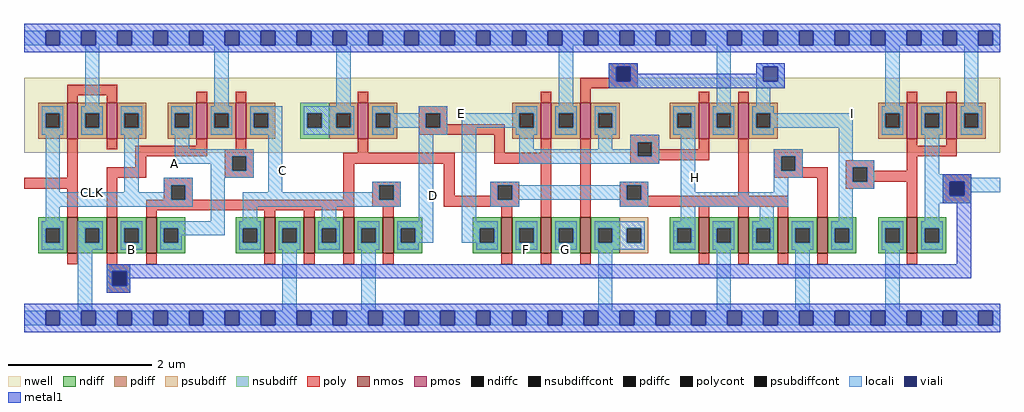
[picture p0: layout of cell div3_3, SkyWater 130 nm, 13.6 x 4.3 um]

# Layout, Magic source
magic
tech sky130A
<< nwell >>
rect 585 105 1945 210
<< nmos >>
rect 645 -35 660 15
rect 700 -35 715 15
rect 755 -35 770 15
rect 920 -35 935 15
rect 975 -35 990 15
rect 1030 -35 1045 15
rect 1085 -35 1100 15
rect 1250 -35 1265 15
rect 1305 -35 1320 15
rect 1360 -35 1375 15
rect 1525 -35 1540 15
rect 1580 -35 1595 15
rect 1635 -35 1650 15
rect 1690 -35 1705 15
rect 1815 -35 1830 15
<< pmos >>
rect 645 125 660 175
rect 700 125 715 175
rect 825 125 840 175
rect 880 125 895 175
rect 1050 125 1065 175
rect 1305 125 1320 175
rect 1360 125 1375 175
rect 1525 125 1540 175
rect 1580 125 1595 175
rect 1815 125 1830 175
rect 1870 125 1885 175
<< ndiff >>
rect 605 0 645 15
rect 605 -20 615 0
rect 635 -20 645 0
rect 605 -35 645 -20
rect 660 0 700 15
rect 660 -20 670 0
rect 690 -20 700 0
rect 660 -35 700 -20
rect 715 0 755 15
rect 715 -20 725 0
rect 745 -20 755 0
rect 715 -35 755 -20
rect 770 0 810 15
rect 770 -20 780 0
rect 800 -20 810 0
rect 770 -35 810 -20
rect 880 0 920 15
rect 880 -20 890 0
rect 910 -20 920 0
rect 880 -35 920 -20
rect 935 0 975 15
rect 935 -20 945 0
rect 965 -20 975 0
rect 935 -35 975 -20
rect 990 0 1030 15
rect 990 -20 1000 0
rect 1020 -20 1030 0
rect 990 -35 1030 -20
rect 1045 0 1085 15
rect 1045 -20 1055 0
rect 1075 -20 1085 0
rect 1045 -35 1085 -20
rect 1100 0 1140 15
rect 1100 -20 1110 0
rect 1130 -20 1140 0
rect 1100 -35 1140 -20
rect 1210 0 1250 15
rect 1210 -20 1220 0
rect 1240 -20 1250 0
rect 1210 -35 1250 -20
rect 1265 0 1305 15
rect 1265 -20 1275 0
rect 1295 -20 1305 0
rect 1265 -35 1305 -20
rect 1320 0 1360 15
rect 1320 -20 1330 0
rect 1350 -20 1360 0
rect 1320 -35 1360 -20
rect 1375 0 1415 15
rect 1375 -20 1385 0
rect 1405 -20 1415 0
rect 1375 -35 1415 -20
rect 1485 0 1525 15
rect 1485 -20 1495 0
rect 1515 -20 1525 0
rect 1485 -35 1525 -20
rect 1540 0 1580 15
rect 1540 -20 1550 0
rect 1570 -20 1580 0
rect 1540 -35 1580 -20
rect 1595 0 1635 15
rect 1595 -20 1605 0
rect 1625 -20 1635 0
rect 1595 -35 1635 -20
rect 1650 0 1690 15
rect 1650 -20 1660 0
rect 1680 -20 1690 0
rect 1650 -35 1690 -20
rect 1705 0 1745 15
rect 1705 -20 1715 0
rect 1735 -20 1745 0
rect 1705 -35 1745 -20
rect 1775 0 1815 15
rect 1775 -20 1785 0
rect 1805 -20 1815 0
rect 1775 -35 1815 -20
rect 1830 0 1870 15
rect 1830 -20 1840 0
rect 1860 -20 1870 0
rect 1830 -35 1870 -20
<< pdiff >>
rect 605 160 645 175
rect 605 140 615 160
rect 635 140 645 160
rect 605 125 645 140
rect 660 160 700 175
rect 660 140 670 160
rect 690 140 700 160
rect 660 125 700 140
rect 715 160 755 175
rect 715 140 725 160
rect 745 140 755 160
rect 715 125 755 140
rect 785 160 825 175
rect 785 140 795 160
rect 815 140 825 160
rect 785 125 825 140
rect 840 160 880 175
rect 840 140 850 160
rect 870 140 880 160
rect 840 125 880 140
rect 895 160 935 175
rect 895 140 905 160
rect 925 140 935 160
rect 895 125 935 140
rect 1010 160 1050 175
rect 1010 140 1020 160
rect 1040 140 1050 160
rect 1010 125 1050 140
rect 1065 160 1105 175
rect 1065 140 1075 160
rect 1095 140 1105 160
rect 1065 125 1105 140
rect 1265 160 1305 175
rect 1265 140 1275 160
rect 1295 140 1305 160
rect 1265 125 1305 140
rect 1320 160 1360 175
rect 1320 140 1330 160
rect 1350 140 1360 160
rect 1320 125 1360 140
rect 1375 160 1415 175
rect 1375 140 1385 160
rect 1405 140 1415 160
rect 1375 125 1415 140
rect 1485 160 1525 175
rect 1485 140 1495 160
rect 1515 140 1525 160
rect 1485 125 1525 140
rect 1540 160 1580 175
rect 1540 140 1550 160
rect 1570 140 1580 160
rect 1540 125 1580 140
rect 1595 160 1635 175
rect 1595 140 1605 160
rect 1625 140 1635 160
rect 1595 125 1635 140
rect 1775 160 1815 175
rect 1775 140 1785 160
rect 1805 140 1815 160
rect 1775 125 1815 140
rect 1830 160 1870 175
rect 1830 140 1840 160
rect 1860 140 1870 160
rect 1830 125 1870 140
rect 1885 160 1925 175
rect 1885 140 1895 160
rect 1915 140 1925 160
rect 1885 125 1925 140
<< ndiffc >>
rect 615 -20 635 0
rect 670 -20 690 0
rect 725 -20 745 0
rect 780 -20 800 0
rect 890 -20 910 0
rect 945 -20 965 0
rect 1000 -20 1020 0
rect 1055 -20 1075 0
rect 1110 -20 1130 0
rect 1220 -20 1240 0
rect 1275 -20 1295 0
rect 1330 -20 1350 0
rect 1385 -20 1405 0
rect 1495 -20 1515 0
rect 1550 -20 1570 0
rect 1605 -20 1625 0
rect 1660 -20 1680 0
rect 1715 -20 1735 0
rect 1785 -20 1805 0
rect 1840 -20 1860 0
<< pdiffc >>
rect 615 140 635 160
rect 670 140 690 160
rect 725 140 745 160
rect 795 140 815 160
rect 850 140 870 160
rect 905 140 925 160
rect 1020 140 1040 160
rect 1075 140 1095 160
rect 1275 140 1295 160
rect 1330 140 1350 160
rect 1385 140 1405 160
rect 1495 140 1515 160
rect 1550 140 1570 160
rect 1605 140 1625 160
rect 1785 140 1805 160
rect 1840 140 1860 160
rect 1895 140 1915 160
<< psubdiff >>
rect 1415 0 1455 15
rect 1415 -20 1425 0
rect 1445 -20 1455 0
rect 1415 -35 1455 -20
<< nsubdiff >>
rect 970 160 1010 175
rect 970 140 980 160
rect 1000 140 1010 160
rect 970 125 1010 140
<< psubdiffcont >>
rect 1425 -20 1445 0
<< nsubdiffcont >>
rect 980 140 1000 160
<< poly >>
rect 1400 225 1440 230
rect 1400 210 1410 225
rect 1360 205 1410 210
rect 1430 205 1440 225
rect 645 185 715 200
rect 1360 195 1440 205
rect 645 175 660 185
rect 700 175 715 185
rect 825 175 840 190
rect 880 175 895 190
rect 1050 175 1065 190
rect 1305 175 1320 190
rect 1360 175 1375 195
rect 1525 175 1540 190
rect 1580 175 1595 190
rect 1815 175 1830 190
rect 1870 175 1885 190
rect 1135 160 1175 170
rect 1135 140 1145 160
rect 1165 145 1175 160
rect 1165 140 1255 145
rect 1135 130 1255 140
rect 645 70 660 125
rect 700 110 715 125
rect 825 115 840 125
rect 740 100 840 115
rect 880 110 895 125
rect 865 100 905 110
rect 1050 105 1065 125
rect 1240 105 1255 130
rect 1305 105 1320 125
rect 740 85 755 100
rect 585 55 660 70
rect 645 15 660 55
rect 700 70 755 85
rect 865 80 875 100
rect 895 80 905 100
rect 865 70 905 80
rect 1030 90 1185 105
rect 1240 90 1320 105
rect 700 15 715 70
rect 780 60 820 70
rect 780 40 790 60
rect 810 40 820 60
rect 1030 40 1045 90
rect 755 25 1045 40
rect 1070 60 1110 65
rect 1070 40 1080 60
rect 1100 40 1110 60
rect 1070 30 1110 40
rect 1170 45 1185 90
rect 1235 60 1275 65
rect 1235 45 1245 60
rect 1170 40 1245 45
rect 1265 40 1275 60
rect 1170 30 1275 40
rect 755 15 770 25
rect 920 15 935 25
rect 975 15 990 25
rect 1030 15 1045 25
rect 1085 15 1100 30
rect 1250 15 1265 30
rect 1305 15 1320 90
rect 1360 15 1375 125
rect 1430 120 1470 130
rect 1430 100 1440 120
rect 1460 110 1470 120
rect 1525 110 1540 125
rect 1460 100 1540 110
rect 1430 95 1540 100
rect 1430 90 1470 95
rect 1415 60 1455 65
rect 1415 40 1425 60
rect 1445 45 1455 60
rect 1580 45 1595 125
rect 1815 115 1830 125
rect 1870 115 1885 125
rect 1630 100 1670 110
rect 1630 80 1640 100
rect 1660 85 1670 100
rect 1815 100 1885 115
rect 1730 85 1770 95
rect 1660 80 1705 85
rect 1630 70 1705 80
rect 1445 40 1650 45
rect 1415 30 1650 40
rect 1525 15 1540 30
rect 1580 15 1595 30
rect 1635 15 1650 30
rect 1690 15 1705 70
rect 1730 65 1740 85
rect 1760 80 1770 85
rect 1815 80 1830 100
rect 1760 65 1830 80
rect 1730 55 1770 65
rect 1815 15 1830 65
rect 1865 65 1905 75
rect 1865 45 1875 65
rect 1895 45 1905 65
rect 1865 35 1905 45
rect 645 -50 660 -35
rect 700 -50 715 -35
rect 755 -50 770 -35
rect 920 -50 935 -35
rect 975 -50 990 -35
rect 1030 -50 1045 -35
rect 1085 -50 1100 -35
rect 1250 -50 1265 -35
rect 1305 -50 1320 -35
rect 1360 -50 1375 -35
rect 1525 -50 1540 -35
rect 1580 -50 1595 -35
rect 1635 -50 1650 -35
rect 1690 -50 1705 -35
rect 1815 -50 1830 -35
rect 700 -60 733 -50
rect 700 -80 708 -60
rect 728 -80 733 -60
rect 700 -90 733 -80
<< polycont >>
rect 1410 205 1430 225
rect 1145 140 1165 160
rect 875 80 895 100
rect 790 40 810 60
rect 1080 40 1100 60
rect 1245 40 1265 60
rect 1440 100 1460 120
rect 1425 40 1445 60
rect 1640 80 1660 100
rect 1740 65 1760 85
rect 1875 45 1895 65
rect 708 -80 728 -60
<< locali >>
rect 585 255 615 275
rect 635 255 665 275
rect 685 255 715 275
rect 735 255 765 275
rect 785 255 815 275
rect 835 255 865 275
rect 885 255 915 275
rect 935 255 965 275
rect 985 255 1015 275
rect 1035 255 1065 275
rect 1085 255 1115 275
rect 1135 255 1165 275
rect 1185 255 1215 275
rect 1235 255 1265 275
rect 1285 255 1315 275
rect 1335 255 1365 275
rect 1385 255 1415 275
rect 1435 255 1465 275
rect 1485 255 1515 275
rect 1535 255 1565 275
rect 1585 255 1615 275
rect 1635 255 1665 275
rect 1685 255 1715 275
rect 1735 255 1765 275
rect 1785 255 1815 275
rect 1835 255 1865 275
rect 1885 255 1915 275
rect 1935 255 1945 275
rect 670 170 690 255
rect 850 170 870 255
rect 1020 170 1040 255
rect 1330 170 1350 255
rect 1400 225 1440 230
rect 1400 205 1410 225
rect 1430 205 1440 225
rect 1400 195 1440 205
rect 1550 170 1570 255
rect 1605 225 1645 230
rect 1605 205 1615 225
rect 1635 205 1645 225
rect 1605 195 1645 205
rect 1605 170 1625 195
rect 1785 170 1805 255
rect 1895 170 1915 255
rect 610 160 640 170
rect 610 140 615 160
rect 635 140 640 160
rect 610 130 640 140
rect 665 160 695 170
rect 665 140 670 160
rect 690 140 695 160
rect 665 130 695 140
rect 720 160 750 170
rect 720 140 725 160
rect 745 140 750 160
rect 720 130 750 140
rect 790 160 820 170
rect 790 140 795 160
rect 815 140 820 160
rect 790 130 820 140
rect 845 160 875 170
rect 845 140 850 160
rect 870 140 875 160
rect 845 130 875 140
rect 900 160 945 170
rect 900 140 905 160
rect 925 140 945 160
rect 900 130 945 140
rect 975 160 1045 170
rect 975 140 980 160
rect 1000 140 1020 160
rect 1040 140 1045 160
rect 975 130 1045 140
rect 1070 160 1100 170
rect 1135 160 1175 170
rect 1270 160 1300 170
rect 1070 140 1075 160
rect 1095 140 1145 160
rect 1165 140 1175 160
rect 1070 130 1100 140
rect 1135 130 1175 140
rect 1195 140 1275 160
rect 1295 140 1300 160
rect 615 50 635 130
rect 725 50 745 130
rect 795 110 815 130
rect 795 100 905 110
rect 795 90 875 100
rect 845 80 875 90
rect 895 80 905 100
rect 845 70 905 80
rect 780 60 820 70
rect 780 50 790 60
rect 615 40 790 50
rect 810 40 820 60
rect 615 30 820 40
rect 615 10 635 30
rect 845 10 865 70
rect 925 50 945 130
rect 1070 60 1110 65
rect 1070 50 1080 60
rect 890 40 1080 50
rect 1100 40 1110 60
rect 890 30 1110 40
rect 890 10 910 30
rect 1000 10 1020 30
rect 1135 10 1155 130
rect 610 0 640 10
rect 610 -20 615 0
rect 635 -20 640 0
rect 610 -30 640 -20
rect 660 0 695 10
rect 660 -20 670 0
rect 690 -20 695 0
rect 660 -30 695 -20
rect 720 0 750 10
rect 720 -20 725 0
rect 745 -20 750 0
rect 720 -30 750 -20
rect 775 0 865 10
rect 775 -20 780 0
rect 800 -10 865 0
rect 885 0 915 10
rect 800 -20 805 -10
rect 775 -30 805 -20
rect 885 -20 890 0
rect 910 -20 915 0
rect 885 -30 915 -20
rect 940 0 970 10
rect 940 -20 945 0
rect 965 -20 970 0
rect 940 -30 970 -20
rect 995 0 1025 10
rect 995 -20 1000 0
rect 1020 -20 1025 0
rect 995 -30 1025 -20
rect 1050 0 1080 10
rect 1050 -20 1055 0
rect 1075 -20 1080 0
rect 1050 -30 1080 -20
rect 1105 0 1155 10
rect 1105 -20 1110 0
rect 1130 -20 1155 0
rect 1195 10 1215 140
rect 1270 130 1300 140
rect 1325 160 1355 170
rect 1325 140 1330 160
rect 1350 140 1355 160
rect 1325 130 1355 140
rect 1380 160 1410 170
rect 1380 140 1385 160
rect 1405 140 1410 160
rect 1380 130 1410 140
rect 1490 160 1520 170
rect 1490 140 1495 160
rect 1515 140 1520 160
rect 1490 130 1520 140
rect 1545 160 1575 170
rect 1545 140 1550 160
rect 1570 140 1575 160
rect 1545 130 1575 140
rect 1600 160 1630 170
rect 1780 160 1810 170
rect 1600 140 1605 160
rect 1625 140 1740 160
rect 1600 130 1630 140
rect 1275 110 1295 130
rect 1385 110 1405 130
rect 1430 120 1470 130
rect 1430 110 1440 120
rect 1275 100 1440 110
rect 1460 100 1470 120
rect 1275 90 1470 100
rect 1235 60 1275 65
rect 1415 60 1455 65
rect 1235 40 1245 60
rect 1265 40 1425 60
rect 1445 40 1455 60
rect 1235 30 1275 40
rect 1415 30 1455 40
rect 1500 50 1520 130
rect 1630 100 1670 110
rect 1630 80 1640 100
rect 1660 80 1670 100
rect 1630 70 1670 80
rect 1720 95 1740 140
rect 1780 140 1785 160
rect 1805 140 1810 160
rect 1780 130 1810 140
rect 1835 160 1865 170
rect 1835 140 1840 160
rect 1860 140 1865 160
rect 1835 130 1865 140
rect 1890 160 1920 170
rect 1890 140 1895 160
rect 1915 140 1920 160
rect 1890 130 1920 140
rect 1720 85 1770 95
rect 1630 50 1650 70
rect 1500 30 1650 50
rect 1720 65 1740 85
rect 1760 65 1770 85
rect 1720 55 1770 65
rect 1840 75 1860 130
rect 1840 70 1905 75
rect 1840 65 1945 70
rect 1500 10 1520 30
rect 1610 10 1630 30
rect 1720 10 1740 55
rect 1840 45 1875 65
rect 1895 50 1945 65
rect 1895 45 1905 50
rect 1840 35 1905 45
rect 1840 10 1860 35
rect 1195 0 1245 10
rect 1195 -20 1220 0
rect 1240 -20 1245 0
rect 1105 -30 1135 -20
rect 1215 -30 1245 -20
rect 1270 0 1300 10
rect 1270 -20 1275 0
rect 1295 -20 1300 0
rect 1270 -30 1300 -20
rect 1325 0 1355 10
rect 1325 -20 1330 0
rect 1350 -20 1355 0
rect 1325 -30 1355 -20
rect 1380 0 1450 10
rect 1380 -20 1385 0
rect 1405 -20 1425 0
rect 1445 -20 1450 0
rect 1380 -30 1450 -20
rect 1490 0 1520 10
rect 1490 -20 1495 0
rect 1515 -20 1520 0
rect 1490 -30 1520 -20
rect 1545 0 1575 10
rect 1545 -20 1550 0
rect 1570 -20 1575 0
rect 1545 -30 1575 -20
rect 1600 0 1630 10
rect 1600 -20 1605 0
rect 1625 -20 1630 0
rect 1600 -30 1630 -20
rect 1655 0 1685 10
rect 1655 -20 1660 0
rect 1680 -20 1685 0
rect 1655 -30 1685 -20
rect 1710 0 1740 10
rect 1710 -20 1715 0
rect 1735 -20 1740 0
rect 1710 -30 1740 -20
rect 1780 0 1810 10
rect 1780 -20 1785 0
rect 1805 -20 1810 0
rect 1780 -30 1810 -20
rect 1835 0 1865 10
rect 1835 -20 1840 0
rect 1860 -20 1865 0
rect 1835 -30 1865 -20
rect 660 -115 680 -30
rect 700 -60 733 -50
rect 700 -80 708 -60
rect 728 -80 733 -60
rect 700 -90 733 -80
rect 945 -115 965 -30
rect 1055 -115 1075 -30
rect 1385 -115 1405 -30
rect 1550 -115 1570 -30
rect 1660 -115 1680 -30
rect 1785 -115 1805 -30
rect 585 -135 615 -115
rect 635 -135 665 -115
rect 685 -135 715 -115
rect 735 -135 765 -115
rect 785 -135 815 -115
rect 835 -135 865 -115
rect 885 -135 915 -115
rect 935 -135 965 -115
rect 985 -135 1015 -115
rect 1035 -135 1065 -115
rect 1085 -135 1115 -115
rect 1135 -135 1165 -115
rect 1185 -135 1215 -115
rect 1235 -135 1265 -115
rect 1285 -135 1315 -115
rect 1335 -135 1365 -115
rect 1385 -135 1415 -115
rect 1435 -135 1465 -115
rect 1485 -135 1515 -115
rect 1535 -135 1565 -115
rect 1585 -135 1615 -115
rect 1635 -135 1665 -115
rect 1685 -135 1715 -115
rect 1735 -135 1765 -115
rect 1785 -135 1815 -115
rect 1835 -135 1865 -115
rect 1885 -135 1915 -115
rect 1935 -135 1945 -115
<< viali >>
rect 615 255 635 275
rect 665 255 685 275
rect 715 255 735 275
rect 765 255 785 275
rect 815 255 835 275
rect 865 255 885 275
rect 915 255 935 275
rect 965 255 985 275
rect 1015 255 1035 275
rect 1065 255 1085 275
rect 1115 255 1135 275
rect 1165 255 1185 275
rect 1215 255 1235 275
rect 1265 255 1285 275
rect 1315 255 1335 275
rect 1365 255 1385 275
rect 1415 255 1435 275
rect 1465 255 1485 275
rect 1515 255 1535 275
rect 1565 255 1585 275
rect 1615 255 1635 275
rect 1665 255 1685 275
rect 1715 255 1735 275
rect 1765 255 1785 275
rect 1815 255 1835 275
rect 1865 255 1885 275
rect 1915 255 1935 275
rect 1410 205 1430 225
rect 1615 205 1635 225
rect 1875 45 1895 65
rect 708 -80 728 -60
rect 615 -135 635 -115
rect 665 -135 685 -115
rect 715 -135 735 -115
rect 765 -135 785 -115
rect 815 -135 835 -115
rect 865 -135 885 -115
rect 915 -135 935 -115
rect 965 -135 985 -115
rect 1015 -135 1035 -115
rect 1065 -135 1085 -115
rect 1115 -135 1135 -115
rect 1165 -135 1185 -115
rect 1215 -135 1235 -115
rect 1265 -135 1285 -115
rect 1315 -135 1335 -115
rect 1365 -135 1385 -115
rect 1415 -135 1435 -115
rect 1465 -135 1485 -115
rect 1515 -135 1535 -115
rect 1565 -135 1585 -115
rect 1615 -135 1635 -115
rect 1665 -135 1685 -115
rect 1715 -135 1735 -115
rect 1765 -135 1785 -115
rect 1815 -135 1835 -115
rect 1865 -135 1885 -115
rect 1915 -135 1935 -115
<< metal1 >>
rect 585 275 1945 285
rect 585 255 615 275
rect 635 255 665 275
rect 685 255 715 275
rect 735 255 765 275
rect 785 255 815 275
rect 835 255 865 275
rect 885 255 915 275
rect 935 255 965 275
rect 985 255 1015 275
rect 1035 255 1065 275
rect 1085 255 1115 275
rect 1135 255 1165 275
rect 1185 255 1215 275
rect 1235 255 1265 275
rect 1285 255 1315 275
rect 1335 255 1365 275
rect 1385 255 1415 275
rect 1435 255 1465 275
rect 1485 255 1515 275
rect 1535 255 1565 275
rect 1585 255 1615 275
rect 1635 255 1665 275
rect 1685 255 1715 275
rect 1735 255 1765 275
rect 1785 255 1815 275
rect 1835 255 1865 275
rect 1885 255 1915 275
rect 1935 255 1945 275
rect 585 245 1945 255
rect 1400 225 1440 230
rect 1400 205 1410 225
rect 1430 215 1440 225
rect 1605 225 1645 230
rect 1605 215 1615 225
rect 1430 205 1615 215
rect 1635 205 1645 225
rect 1400 195 1645 205
rect 1865 65 1905 75
rect 1865 45 1875 65
rect 1895 45 1905 65
rect 1865 35 1905 45
rect 1885 -50 1905 35
rect 700 -60 1905 -50
rect 700 -80 708 -60
rect 728 -70 1905 -60
rect 728 -80 733 -70
rect 700 -90 733 -80
rect 585 -115 1945 -105
rect 585 -135 615 -115
rect 635 -135 665 -115
rect 685 -135 715 -115
rect 735 -135 765 -115
rect 785 -135 815 -115
rect 835 -135 865 -115
rect 885 -135 915 -115
rect 935 -135 965 -115
rect 985 -135 1015 -115
rect 1035 -135 1065 -115
rect 1085 -135 1115 -115
rect 1135 -135 1165 -115
rect 1185 -135 1215 -115
rect 1235 -135 1265 -115
rect 1285 -135 1315 -115
rect 1335 -135 1365 -115
rect 1385 -135 1415 -115
rect 1435 -135 1465 -115
rect 1485 -135 1515 -115
rect 1535 -135 1565 -115
rect 1585 -135 1615 -115
rect 1635 -135 1665 -115
rect 1685 -135 1715 -115
rect 1735 -135 1765 -115
rect 1785 -135 1815 -115
rect 1835 -135 1865 -115
rect 1885 -135 1915 -115
rect 1935 -135 1945 -115
rect 585 -145 1945 -135
<< labels >>
flabel locali 680 50 680 50 1 FreeSans 160 0 0 80 CLK
flabel locali 795 90 795 90 7 FreeSans 160 0 -80 0 A
flabel locali 735 -30 735 -30 5 FreeSans 160 0 0 -80 B
flabel locali 945 80 945 80 3 FreeSans 160 0 80 0 C
flabel locali 1155 45 1155 45 3 FreeSans 160 0 0 0 D
flabel locali 1740 160 1740 160 3 FreeSans 160 0 80 0 I
flabel locali 1195 160 1195 160 7 FreeSans 160 0 -80 0 E
flabel locali 1285 -30 1285 -30 5 FreeSans 160 0 0 -80 F
flabel locali 1340 -30 1340 -30 5 FreeSans 160 0 0 -80 G
flabel locali 1520 70 1520 70 3 FreeSans 160 0 80 0 H
<< end >>
